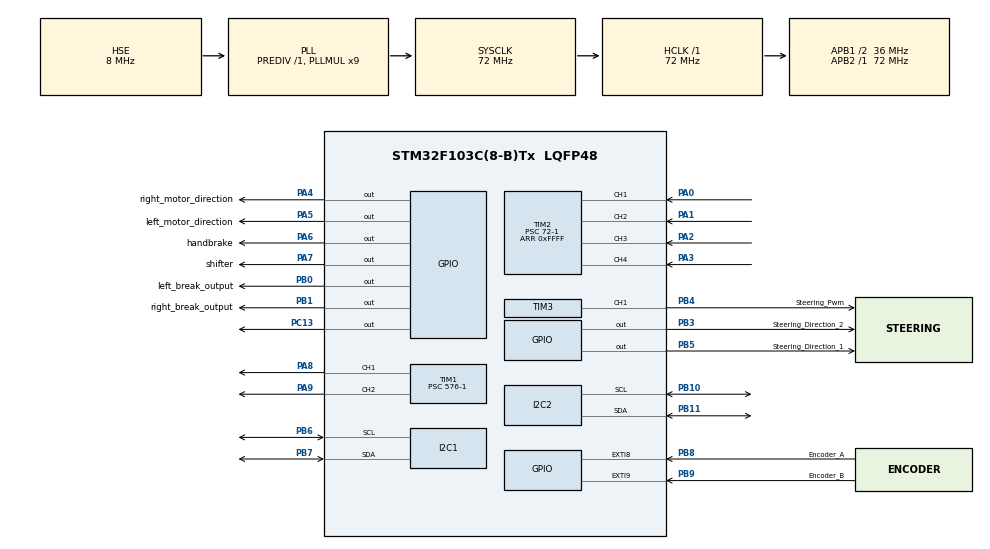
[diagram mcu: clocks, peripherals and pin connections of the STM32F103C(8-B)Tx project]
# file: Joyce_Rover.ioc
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Mcu.Family=STM32F1
Mcu.Name=STM32F103C(8-B)Tx
Mcu.Package=LQFP48
NVIC.EXTI9_5_IRQn=true\:0\:0\:false\:false\:true\:true\:true\:true
NVIC.PriorityGroup=NVIC_PRIORITYGROUP_4
NVIC.TIM1_BRK_IRQn=true\:0\:0\:false\:false\:true\:true\:true\:true
NVIC.TIM1_CC_IRQn=true\:0\:0\:false\:false\:true\:true\:true\:true
NVIC.TIM1_TRG_COM_IRQn=true\:0\:0\:false\:false\:true\:true\:true\:true
NVIC.TIM1_UP_IRQn=true\:0\:0\:false\:false\:true\:true\:true\:true
NVIC.TIM2_IRQn=true\:0\:0\:false\:false\:true\:true\:true\:true
PA0-WKUP.Signal=S_TIM2_CH1_ETR
PA1.Signal=S_TIM2_CH2
PA13.Mode=Serial_Wire
PA13.Signal=SYS_JTMS-SWDIO
PA14.Mode=Serial_Wire
PA14.Signal=SYS_JTCK-SWCLK
PA2.Signal=S_TIM2_CH3
PA3.Signal=S_TIM2_CH4
PA4.GPIO_Label=right_motor_direction
PA4.Signal=GPIO_Output
PA5.GPIO_Label=left_motor_direction
PA5.Signal=GPIO_Output
PA6.GPIO_Label=handbrake
PA6.Signal=GPIO_Output
PA7.GPIO_Label=shifter
PA7.Signal=GPIO_Output
PA8.Signal=S_TIM1_CH1
PA9.Signal=S_TIM1_CH2
PB0.GPIO_Label=left_break_output
PB0.Signal=GPIO_Output
PB1.GPIO_Label=right_break_output
PB1.Signal=GPIO_Output
PB10.Mode=I2C
PB10.Signal=I2C2_SCL
PB11.Mode=I2C
PB11.Signal=I2C2_SDA
PB3.GPIO_Label=Steering_Direction_2
PB3.Signal=GPIO_Output
PB4.GPIO_Label=Steering_Pwm
PB4.Signal=S_TIM3_CH1
PB5.GPIO_Label=Steering_Direction_1
PB5.Signal=GPIO_Output
PB6.Mode=I2C
PB6.Signal=I2C1_SCL
PB7.Mode=I2C
PB7.Signal=I2C1_SDA
PB8.GPIO_Label=Encoder_A
PB8.GPIO_ModeDefaultEXTI=GPIO_MODE_IT_RISING_FALLING
PB8.GPIO_PuPd=GPIO_PULLUP
PB8.Signal=GPXTI8
PB9.GPIO_Label=Encoder_B
PB9.GPIO_ModeDefaultEXTI=GPIO_MODE_IT_RISING_FALLING
PB9.GPIO_PuPd=GPIO_PULLUP
PB9.Signal=GPXTI9
PC13-TAMPER-RTC.Signal=GPIO_Output
PD0-OSC_IN.Mode=HSE-External-Oscillator
PD0-OSC_IN.Signal=RCC_OSC_IN
PD1-OSC_OUT.Mode=HSE-External-Oscillator
PD1-OSC_OUT.Signal=RCC_OSC_OUT
ProjectManager.HeapSize=0x200
ProjectManager.StackSize=0x400
ProjectManager.TargetToolchain=STM32CubeIDE
RCC.AHBFreq_Value=72000000
RCC.APB1CLKDivider=RCC_HCLK_DIV2
RCC.APB1Freq_Value=36000000
RCC.APB1TimFreq_Value=72000000
RCC.APB2Freq_Value=72000000
RCC.APB2TimFreq_Value=72000000
RCC.HCLKFreq_Value=72000000
RCC.PLLMUL=RCC_PLL_MUL9
RCC.PLLSourceVirtual=RCC_PLLSOURCE_HSE
RCC.SYSCLKFreq_VALUE=72000000
RCC.SYSCLKSource=RCC_SYSCLKSOURCE_PLLCLK
RCC.USBFreq_Value=72000000
SH.S_TIM1_CH1.0=TIM1_CH1,PWM Generation1 CH1
SH.S_TIM1_CH2.0=TIM1_CH2,PWM Generation2 CH2
SH.S_TIM2_CH1_ETR.0=TIM2_CH1,Input_Capture1_from_TI1
SH.S_TIM2_CH2.0=TIM2_CH2,Input_Capture2_from_TI2
SH.S_TIM2_CH3.0=TIM2_CH3,Input_Capture3_from_TI3
SH.S_TIM2_CH4.0=TIM2_CH4,Input_Capture4_from_TI4
SH.S_TIM3_CH1.0=TIM3_CH1,PWM Generation1 CH1
TIM1.Channel-PWM\ Generation1\ CH1=TIM_CHANNEL_1
TIM1.Channel-PWM\ Generation2\ CH2=TIM_CHANNEL_2
TIM1.Period=1000-1
TIM1.Prescaler=576-1
TIM2.Channel-Input_Capture1_from_TI1=TIM_CHANNEL_1
TIM2.Channel-Input_Capture2_from_TI2=TIM_CHANNEL_2
TIM2.Channel-Input_Capture3_from_TI3=TIM_CHANNEL_3
TIM2.Channel-Input_Capture4_from_TI4=TIM_CHANNEL_4
TIM2.Period=0xFFFF
TIM2.Prescaler=72-1
TIM3.Channel-PWM\ Generation1\ CH1=TIM_CHANNEL_1
TIM3.Period=100
TIM3.Prescaler=720-1
VP_TIM1_VS_ClockSourceINT.Mode=Internal
VP_TIM2_VS_ClockSourceINT.Mode=Internal
VP_TIM3_VS_ClockSourceINT.Mode=Internal
board=custom

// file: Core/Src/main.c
/* USER CODE BEGIN Header */
/**
 ******************************************************************************
 * @file           : main.c
 * @brief          : Main program body
 ******************************************************************************
 * @attention
 *
 * Copyright (c) 2023 STMicroelectronics.
 * All rights reserved.
 *
 * This software is licensed under terms that can be found in the LICENSE file
 * in the root directory of this software component.
 * If no LICENSE file comes with this software, it is provided AS-IS.
 *
 * Değişiklikler:
 * -> steering motoru için 2 yön pini 1 pwm pini oluşturuldu. pwm 1khz de çalışıyor ayarlandı. timer3 channel 1
 * -> encoder için iki adet interrupt pini ayarlandı. okunan değerlere göre Steering_Position değişkeni güncelleniyor
 * -> chanel 4-5-6 eklendi ama yorum satırı yapıldı. gerektiğinde tekrar aktif edilebilir (5 ve 6 için timer1 chanel 1 ve 2 nin pwm generation dan pwm input capture olması gerekiyor)
 ******************************************************************************
 */
/* USER CODE END Header */
#include "main.h"

/* USER CODE BEGIN Includes */
#include "MCP4725.h"
/* USER CODE END Includes */

/* USER CODE BEGIN PD */
//#define debug_mode //to debug and test relays
//#define dac_debug_moode
/* USER CODE END PD */

I2C_HandleTypeDef hi2c1;
I2C_HandleTypeDef hi2c2;

TIM_HandleTypeDef htim1;
TIM_HandleTypeDef htim2;
TIM_HandleTypeDef htim3;

/* USER CODE BEGIN PV */
volatile uint64_t ch1_rising = 0, ch1_falling = 0, ch1 = 0, pre_ch1 = 0;
volatile uint64_t ch2_rising = 0, ch2_falling = 0, ch2 = 0, pre_ch2 = 0;
volatile uint64_t ch3_rising = 0, ch3_falling = 0, ch3 = 0, pre_ch3 = 0;
//volatile uint64_t ch4_rising = 0, ch4_falling = 0, ch4 = 0, pre_ch4 = 0;
//volatile uint64_t ch5_rising = 0, ch5_falling = 0, ch5 = 0, pre_ch5 = 0;
//volatile uint64_t ch6_rising = 0, ch6_falling = 0, ch6 = 0, pre_ch6 = 0;

int deadband_scale = 0;
int maxpoint = 0;
int midpoint = 0;
int minpoint = 0;
int motor_startup_deadband = 0;

volatile int left_output = 0, right_output = 0;
volatile float ch1_smooth = 0, ch2_smooth = 0;
volatile int Steering_Position = 0;

int left_motor_pwm, right_motor_pwm;

/* USER CODE END PV */

void SystemClock_Config(void);
static void MX_GPIO_Init(void);
static void MX_TIM1_Init(void);
static void MX_TIM2_Init(void);
static void MX_I2C1_Init(void);
static void MX_I2C2_Init(void);
static void MX_TIM3_Init(void);

/* USER CODE BEGIN 0 */

int map(int x, int in_min, int in_max, int out_min, int out_max) {
	return (x - in_min) * (out_max - out_min) / (in_max - in_min) + out_min;
}

void HAL_TIM_IC_CaptureCallback(TIM_HandleTypeDef *htim) {
	if (htim->Instance == TIM2) {
		switch (htim->Channel) {
		case HAL_TIM_ACTIVE_CHANNEL_1:
			// Kanal 1 için işlemler
			if ((TIM2->CCER & TIM_CCER_CC1P) == 0) {
				ch1_rising = TIM2->CCR1; // yukselen kenar degerini kaydet
				TIM2->CCER |= TIM_CCER_CC1P; // polariteyi düsen kenar olarak degistir
			} else {
				ch1_falling = TIM2->CCR1;
				pre_ch1 = ch1_falling - ch1_rising; // dusen kenar degerini kaydet ve yukselen kenar degerinden cikar
				if (pre_ch1 < 0) {
					pre_ch1 += 0xFFFF; // eger sonuc negatifse taban tumleme yap
				}
				if (pre_ch1 < 2010 && pre_ch1 > 990) {
					ch1 = pre_ch1;
				}
				TIM2->CCER &= ~TIM_CCER_CC1P; // polariteyi yukselen kenar olarak ayarla
			}
			break;
		case HAL_TIM_ACTIVE_CHANNEL_2:
			// Kanal 2 için işlemler
			if ((TIM2->CCER & TIM_CCER_CC2P) == 0) {
				ch2_rising = TIM2->CCR2; // yukselen kenar degerini kaydet
				TIM2->CCER |= TIM_CCER_CC2P; // polariteyi düsen kenar olarak degistir
			} else {
				ch2_falling = TIM2->CCR2;
				pre_ch2 = ch2_falling - ch2_rising; // dusen kenar degerini kaydet ve yukselen kenar degerinden cikar
				if (pre_ch2 < 0) {
					pre_ch2 += 0xFFFF; // eger sonuc negatifse taban tumleme yap
				}
				if (pre_ch2 < 2010 && pre_ch2 > 990) {
					ch2 = pre_ch2;
				}
				TIM2->CCER &= ~TIM_CCER_CC2P; // polariteyi yukselen kenar olarak ayarla
			}

			break;
		case HAL_TIM_ACTIVE_CHANNEL_3:
			// Kanal 3 için işlemler
			if ((TIM2->CCER & TIM_CCER_CC3P) == 0) {
				ch3_rising = TIM2->CCR3; // yukselen kenar degerini kaydet
				TIM2->CCER |= TIM_CCER_CC3P; // polariteyi düsen kenar olarak degistir
			} else {
				ch3_falling = TIM2->CCR3;
				pre_ch3 = ch3_falling - ch3_rising; // dusen kenar degerini kaydet ve yukselen kenar degerinden cikar
				if (pre_ch3 < 0) {
					pre_ch3 += 0xFFFF; // eger sonuc negatifse taban tumleme yap
				}
				if (pre_ch3 < 2010 && pre_ch3 > 990) {
					ch3 = pre_ch3;
				}
				TIM2->CCER &= ~TIM_CCER_CC3P; // polariteyi yukselen kenar olarak ayarla
			}

			break;
		/*case HAL_TIM_ACTIVE_CHANNEL_4:
			// Kanal 4 için işlemler
			if ((TIM2->CCER & TIM_CCER_CC4P) == 0) {
				ch4_rising = TIM2->CCR4; // yukselen kenar degerini kaydet
				TIM2->CCER |= TIM_CCER_CC4P; // polariteyi düsen kenar olarak degistir
			} else {
				ch4_falling = TIM2->CCR4;
				pre_ch4 = ch4_falling - ch4_rising; // dusen kenar degerini kaydet ve yukselen kenar degerinden cikar
				if (pre_ch4 < 0) {
					pre_ch4 += 0xFFFF; // eger sonuc negatifse taban tumleme yap
				}
				if (pre_ch4 < 2010 && pre_ch4 > 990) {
					ch4 = pre_ch4;
				}
				TIM2->CCER &= ~TIM_CCER_CC4P; // polariteyi yukselen kenar olarak ayarla
			}

			break;*/
		default:
			break;
		}
	}
	/*if (htim->Instance == TIM1) {
		switch (htim->Channel) {
			case HAL_TIM_ACTIVE_CHANNEL_1:
				// Kanal 1 için işlemler
				if ((TIM1->CCER & TIM_CCER_CC1P) == 0) {
					ch5_rising = TIM1->CCR1; // yukselen kenar degerini kaydet
					TIM1->CCER |= TIM_CCER_CC1P; // polariteyi düsen kenar olarak degistir
				} else {
					ch5_falling = TIM1->CCR1;
					pre_ch5 = ch5_falling - ch5_rising; // dusen kenar degerini kaydet ve yukselen kenar degerinden cikar
					if (pre_ch5 < 0) {
						pre_ch5 += 0xFFFF; // eger sonuc negatifse taban tumleme yap
					}
					if (pre_ch5 < 2010 && pre_ch5 > 990) {
						ch5 = pre_ch5;
					}
					TIM1->CCER &= ~TIM_CCER_CC1P; // polariteyi yukselen kenar olarak ayarla
				}
			break;
			case HAL_TIM_ACTIVE_CHANNEL_2:
				// Kanal 2 için işlemler
				if ((TIM1->CCER & TIM_CCER_CC2P) == 0) {
					ch6_rising = TIM1->CCR2; // yukselen kenar degerini kaydet
					TIM1->CCER |= TIM_CCER_CC2P; // polariteyi düsen kenar olarak degistir
				} else {
					ch6_falling = TIM1->CCR2;
					pre_ch6 = ch6_falling - ch6_rising; // dusen kenar degerini kaydet ve yukselen kenar degerinden cikar
					if (pre_ch6 < 0) {
						pre_ch6 += 0xFFFF; // eger sonuc negatifse taban tumleme yap
					}
					if (pre_ch6 < 2010 && pre_ch6 > 990) {
						ch6 = pre_ch6;
					}
					TIM1->CCER &= ~TIM_CCER_CC2P; // polariteyi yukselen kenar olarak ayarla
				}
			break;
		default:
			break;
		}
	}*/
}

MCP4725 LeftMCP4725;
MCP4725 RightMCP4725;

/* USER CODE END 0 */

int main(void)
{

  /* MCU Configuration--------------------------------------------------------*/

  /* Reset of all peripherals, Initializes the Flash interface and the Systick. */
  HAL_Init();

  /* Configure the system clock */
  SystemClock_Config();

  /* Initialize all configured peripherals */
  MX_GPIO_Init();
  MX_TIM1_Init();
  MX_TIM2_Init();
  MX_I2C1_Init();
  MX_I2C2_Init();
  MX_TIM3_Init();
  /* USER CODE BEGIN 2 */
	LeftMCP4725 = MCP4725_init(&hi2c1, MCP4725A0_ADDR_A00, 5);
	RightMCP4725 = MCP4725_init(&hi2c1, MCP4725A0_ADDR_A01, 5);

	HAL_TIM_IC_Start_IT(&htim2, TIM_CHANNEL_1);
	HAL_TIM_IC_Start_IT(&htim2, TIM_CHANNEL_2);
	HAL_TIM_IC_Start_IT(&htim2, TIM_CHANNEL_3);
	//HAL_TIM_IC_Start_IT(&htim2, TIM_CHANNEL_4);
	HAL_TIM_PWM_Start(&htim1, TIM_CHANNEL_1);
	HAL_TIM_PWM_Start(&htim1, TIM_CHANNEL_2);
	HAL_TIM_PWM_Start(&htim3, TIM_CHANNEL_1);
#ifndef debug_mode
	while (!MCP4725_isConnected(&LeftMCP4725)
			|| !MCP4725_isConnected(&RightMCP4725)) {
		HAL_GPIO_TogglePin(GPIOC, GPIO_PIN_13);
		HAL_Delay(500);
	}
#endif
  /* USER CODE END 2 */

  /* Infinite loop */
	while (1) {

    /* USER CODE BEGIN 3 */
#ifndef debug_mode
		if (ch3 <= 1500) {
			maxpoint = 1900;
			midpoint = 1500;
			minpoint = 1100;
			deadband_scale = 32;
			motor_startup_deadband = 100;
		} else {
			maxpoint = 1900;
			midpoint = 1500;
			minpoint = 1100;
			deadband_scale = 32;
			motor_startup_deadband = 100;
		}

		ch1_smooth -= ch1_smooth / 10.0;
		ch1_smooth += ch1 / 10.0;

		ch2_smooth -= ch2_smooth / 10.0;
		ch2_smooth += ch2 / 10.0;

		left_output = (ch2_smooth + ((ch1_smooth - 1500) * 0.5));
		if (left_output < midpoint - (deadband_scale / 4))
			HAL_GPIO_WritePin(GPIOA, left_motor_direction_Pin, SET);
		else
			HAL_GPIO_WritePin(GPIOA, left_motor_direction_Pin, RESET);

		if (abs(left_output - midpoint) < (deadband_scale / 2))
			left_output = midpoint;  //orta ölübant  (abs() -> mutlak değer)
		if (left_output > maxpoint - deadband_scale)
			left_output = maxpoint;       //max 500
		else if (left_output < minpoint + deadband_scale)
			left_output = minpoint;  //min -500

		right_output = (ch2_smooth - ((ch1_smooth - 1500) * 0.5));
		if (right_output < midpoint - (deadband_scale / 4))
			HAL_GPIO_WritePin(GPIOA, right_motor_direction_Pin, SET);
		else
			HAL_GPIO_WritePin(GPIOA, right_motor_direction_Pin, RESET);

		if (abs(right_output - midpoint) < (deadband_scale / 2))
			right_output = midpoint;  //orta ölübant  (abs() -> mutlak değer)
		if (right_output > maxpoint - deadband_scale)
			right_output = maxpoint;       //max 500
		else if (right_output < minpoint + deadband_scale)
			right_output = minpoint;  //min -500

		if (left_output == midpoint && right_output == midpoint) {
			HAL_GPIO_WritePin(GPIOA, handbrake_Pin, SET);
		} else {

			HAL_GPIO_WritePin(GPIOA, handbrake_Pin, RESET);
		}

		if (left_output >= midpoint)
			left_motor_pwm = map(left_output, midpoint, maxpoint, 0, 1000);
		else
			left_motor_pwm = abs(
					map(left_output, minpoint, midpoint, 0, 1000) - 1000);

		if (right_output >= midpoint)
			right_motor_pwm = map(right_output, midpoint, maxpoint, 0, 1000);
		else
			right_motor_pwm = abs(
					map(right_output, minpoint, midpoint, 0, 1000) - 1000);

		//i2c ile başlatılmış sürücünün bufferından output verilecek
		MCP4725_setValue(&LeftMCP4725,
				(uint16_t) (map(left_motor_pwm, 0, 1000, 800, 2500)),
				MCP4725_FAST_MODE, MCP4725_POWER_DOWN_OFF);
		MCP4725_setValue(&RightMCP4725,
				(uint16_t) (map(right_motor_pwm, 0, 1000, 800, 2500)),
				MCP4725_FAST_MODE, MCP4725_POWER_DOWN_OFF);

		HAL_Delay(20);
#endif
#ifdef debug_mode
		maxpoint = 1900;
		midpoint = 1500;
		minpoint = 1100;
		deadband_scale = 32;
		motor_startup_deadband = 100;
		ch1_smooth -= ch1_smooth / 10.0;
		ch1_smooth += ch1 / 10.0;

		ch2_smooth -= ch2_smooth / 10.0;
		ch2_smooth += ch2 / 10.0;
#ifndef dac_debug_moode
		HAL_GPIO_WritePin(GPIOA, handbrake_Pin, SET);
		HAL_GPIO_WritePin(GPIOA, right_motor_direction_Pin, SET);
		HAL_GPIO_WritePin(GPIOA, left_motor_direction_Pin, SET);
		HAL_Delay(1000);
		HAL_GPIO_WritePin(GPIOA, handbrake_Pin, RESET);
		HAL_GPIO_WritePin(GPIOA, right_motor_direction_Pin, RESET);
		HAL_GPIO_WritePin(GPIOA, left_motor_direction_Pin, RESET);
		HAL_Delay(1000);
#endif
#ifdef dac_debug_moode
		for(int i=0;i<=1000;i++){
		left_motor_pwm=i;
		right_motor_pwm=i;
		MCP4725_setValue(&LeftMCP4725,(uint16_t) (map(left_motor_pwm, 0, 1000, 800, 2500)),MCP4725_FAST_MODE, MCP4725_POWER_DOWN_OFF);
		MCP4725_setValue(&RightMCP4725,(uint16_t) (map(right_motor_pwm, 0, 1000, 800, 2500)),MCP4725_FAST_MODE, MCP4725_POWER_DOWN_OFF);
		HAL_Delay(20);
		}
#endif
#endif
	}

  /* USER CODE END 3 */
}

void SystemClock_Config(void)
{
  RCC_OscInitTypeDef RCC_OscInitStruct = {0};
  RCC_ClkInitTypeDef RCC_ClkInitStruct = {0};

  /** Initializes the RCC Oscillators according to the specified parameters
  * in the RCC_OscInitTypeDef structure.
  */
  RCC_OscInitStruct.OscillatorType = RCC_OSCILLATORTYPE_HSE;
  RCC_OscInitStruct.HSEState = RCC_HSE_ON;
  RCC_OscInitStruct.HSEPredivValue = RCC_HSE_PREDIV_DIV1;
  RCC_OscInitStruct.HSIState = RCC_HSI_ON;
  RCC_OscInitStruct.PLL.PLLState = RCC_PLL_ON;
  RCC_OscInitStruct.PLL.PLLSource = RCC_PLLSOURCE_HSE;
  RCC_OscInitStruct.PLL.PLLMUL = RCC_PLL_MUL9;
  if (HAL_RCC_OscConfig(&RCC_OscInitStruct) != HAL_OK)
  {
    Error_Handler();
  }

  /** Initializes the CPU, AHB and APB buses clocks
  */
  RCC_ClkInitStruct.ClockType = RCC_CLOCKTYPE_HCLK|RCC_CLOCKTYPE_SYSCLK
                              |RCC_CLOCKTYPE_PCLK1|RCC_CLOCKTYPE_PCLK2;
  RCC_ClkInitStruct.SYSCLKSource = RCC_SYSCLKSOURCE_PLLCLK;
  RCC_ClkInitStruct.AHBCLKDivider = RCC_SYSCLK_DIV1;
  RCC_ClkInitStruct.APB1CLKDivider = RCC_HCLK_DIV2;
  RCC_ClkInitStruct.APB2CLKDivider = RCC_HCLK_DIV1;

  if (HAL_RCC_ClockConfig(&RCC_ClkInitStruct, FLASH_LATENCY_2) != HAL_OK)
  {
    Error_Handler();
  }
}

static void MX_I2C1_Init(void)
{

  hi2c1.Instance = I2C1;
  hi2c1.Init.ClockSpeed = 100000;
  hi2c1.Init.DutyCycle = I2C_DUTYCYCLE_2;
  hi2c1.Init.OwnAddress1 = 0;
  hi2c1.Init.AddressingMode = I2C_ADDRESSINGMODE_7BIT;
  hi2c1.Init.DualAddressMode = I2C_DUALADDRESS_DISABLE;
  hi2c1.Init.OwnAddress2 = 0;
  hi2c1.Init.GeneralCallMode = I2C_GENERALCALL_DISABLE;
  hi2c1.Init.NoStretchMode = I2C_NOSTRETCH_DISABLE;
  if (HAL_I2C_Init(&hi2c1) != HAL_OK)
  {
    Error_Handler();
  }

}

static void MX_I2C2_Init(void)
{

  hi2c2.Instance = I2C2;
  hi2c2.Init.ClockSpeed = 100000;
  hi2c2.Init.DutyCycle = I2C_DUTYCYCLE_2;
  hi2c2.Init.OwnAddress1 = 0;
  hi2c2.Init.AddressingMode = I2C_ADDRESSINGMODE_7BIT;
  hi2c2.Init.DualAddressMode = I2C_DUALADDRESS_DISABLE;
  hi2c2.Init.OwnAddress2 = 0;
  hi2c2.Init.GeneralCallMode = I2C_GENERALCALL_DISABLE;
  hi2c2.Init.NoStretchMode = I2C_NOSTRETCH_DISABLE;
  if (HAL_I2C_Init(&hi2c2) != HAL_OK)
  {
    Error_Handler();
  }

}

static void MX_TIM1_Init(void)
{

  TIM_ClockConfigTypeDef sClockSourceConfig = {0};
  TIM_MasterConfigTypeDef sMasterConfig = {0};
  TIM_OC_InitTypeDef sConfigOC = {0};
  TIM_BreakDeadTimeConfigTypeDef sBreakDeadTimeConfig = {0};

  htim1.Instance = TIM1;
  htim1.Init.Prescaler = 576-1;
  htim1.Init.CounterMode = TIM_COUNTERMODE_UP;
  htim1.Init.Period = 1000-1;
  htim1.Init.ClockDivision = TIM_CLOCKDIVISION_DIV1;
  htim1.Init.RepetitionCounter = 0;
  htim1.Init.AutoReloadPreload = TIM_AUTORELOAD_PRELOAD_DISABLE;
  if (HAL_TIM_Base_Init(&htim1) != HAL_OK)
  {
    Error_Handler();
  }
  sClockSourceConfig.ClockSource = TIM_CLOCKSOURCE_INTERNAL;
  if (HAL_TIM_ConfigClockSource(&htim1, &sClockSourceConfig) != HAL_OK)
  {
    Error_Handler();
  }
  if (HAL_TIM_PWM_Init(&htim1) != HAL_OK)
  {
    Error_Handler();
  }
  sMasterConfig.MasterOutputTrigger = TIM_TRGO_RESET;
  sMasterConfig.MasterSlaveMode = TIM_MASTERSLAVEMODE_DISABLE;
  if (HAL_TIMEx_MasterConfigSynchronization(&htim1, &sMasterConfig) != HAL_OK)
  {
    Error_Handler();
  }
  sConfigOC.OCMode = TIM_OCMODE_PWM1;
  sConfigOC.Pulse = 0;
  sConfigOC.OCPolarity = TIM_OCPOLARITY_HIGH;
  sConfigOC.OCNPolarity = TIM_OCNPOLARITY_HIGH;
  sConfigOC.OCFastMode = TIM_OCFAST_DISABLE;
  sConfigOC.OCIdleState = TIM_OCIDLESTATE_RESET;
  sConfigOC.OCNIdleState = TIM_OCNIDLESTATE_RESET;
  if (HAL_TIM_PWM_ConfigChannel(&htim1, &sConfigOC, TIM_CHANNEL_1) != HAL_OK)
  {
    Error_Handler();
  }
  if (HAL_TIM_PWM_ConfigChannel(&htim1, &sConfigOC, TIM_CHANNEL_2) != HAL_OK)
  {
    Error_Handler();
  }
  sBreakDeadTimeConfig.OffStateRunMode = TIM_OSSR_DISABLE;
  sBreakDeadTimeConfig.OffStateIDLEMode = TIM_OSSI_DISABLE;
  sBreakDeadTimeConfig.LockLevel = TIM_LOCKLEVEL_OFF;
  sBreakDeadTimeConfig.DeadTime = 0;
  sBreakDeadTimeConfig.BreakState = TIM_BREAK_DISABLE;
  sBreakDeadTimeConfig.BreakPolarity = TIM_BREAKPOLARITY_HIGH;
  sBreakDeadTimeConfig.AutomaticOutput = TIM_AUTOMATICOUTPUT_DISABLE;
  if (HAL_TIMEx_ConfigBreakDeadTime(&htim1, &sBreakDeadTimeConfig) != HAL_OK)
  {
    Error_Handler();
  }
  HAL_TIM_MspPostInit(&htim1);

}

static void MX_TIM2_Init(void)
{

  TIM_ClockConfigTypeDef sClockSourceConfig = {0};
  TIM_MasterConfigTypeDef sMasterConfig = {0};
  TIM_IC_InitTypeDef sConfigIC = {0};

  htim2.Instance = TIM2;
  htim2.Init.Prescaler = 72-1;
  htim2.Init.CounterMode = TIM_COUNTERMODE_UP;
  htim2.Init.Period = 0xFFFF;
  htim2.Init.ClockDivision = TIM_CLOCKDIVISION_DIV1;
  htim2.Init.AutoReloadPreload = TIM_AUTORELOAD_PRELOAD_DISABLE;
  if (HAL_TIM_Base_Init(&htim2) != HAL_OK)
  {
    Error_Handler();
  }
  sClockSourceConfig.ClockSource = TIM_CLOCKSOURCE_INTERNAL;
  if (HAL_TIM_ConfigClockSource(&htim2, &sClockSourceConfig) != HAL_OK)
  {
    Error_Handler();
  }
  if (HAL_TIM_IC_Init(&htim2) != HAL_OK)
  {
    Error_Handler();
  }
  sMasterConfig.MasterOutputTrigger = TIM_TRGO_RESET;
  sMasterConfig.MasterSlaveMode = TIM_MASTERSLAVEMODE_DISABLE;
  if (HAL_TIMEx_MasterConfigSynchronization(&htim2, &sMasterConfig) != HAL_OK)
  {
    Error_Handler();
  }
  sConfigIC.ICPolarity = TIM_INPUTCHANNELPOLARITY_RISING;
  sConfigIC.ICSelection = TIM_ICSELECTION_DIRECTTI;
  sConfigIC.ICPrescaler = TIM_ICPSC_DIV1;
  sConfigIC.ICFilter = 0;
  if (HAL_TIM_IC_ConfigChannel(&htim2, &sConfigIC, TIM_CHANNEL_1) != HAL_OK)
  {
    Error_Handler();
  }
  if (HAL_TIM_IC_ConfigChannel(&htim2, &sConfigIC, TIM_CHANNEL_2) != HAL_OK)
  {
    Error_Handler();
  }
  if (HAL_TIM_IC_ConfigChannel(&htim2, &sConfigIC, TIM_CHANNEL_3) != HAL_OK)
  {
    Error_Handler();
  }
  if (HAL_TIM_IC_ConfigChannel(&htim2, &sConfigIC, TIM_CHANNEL_4) != HAL_OK)
  {
    Error_Handler();
  }

}

static void MX_TIM3_Init(void)
{

  TIM_ClockConfigTypeDef sClockSourceConfig = {0};
  TIM_MasterConfigTypeDef sMasterConfig = {0};
  TIM_OC_InitTypeDef sConfigOC = {0};

  htim3.Instance = TIM3;
  htim3.Init.Prescaler = 720-1;
  htim3.Init.CounterMode = TIM_COUNTERMODE_UP;
  htim3.Init.Period = 100;
  htim3.Init.ClockDivision = TIM_CLOCKDIVISION_DIV1;
  htim3.Init.AutoReloadPreload = TIM_AUTORELOAD_PRELOAD_DISABLE;
  if (HAL_TIM_Base_Init(&htim3) != HAL_OK)
  {
    Error_Handler();
  }
  sClockSourceConfig.ClockSource = TIM_CLOCKSOURCE_INTERNAL;
  if (HAL_TIM_ConfigClockSource(&htim3, &sClockSourceConfig) != HAL_OK)
  {
    Error_Handler();
  }
  if (HAL_TIM_PWM_Init(&htim3) != HAL_OK)
  {
    Error_Handler();
  }
  sMasterConfig.MasterOutputTrigger = TIM_TRGO_RESET;
  sMasterConfig.MasterSlaveMode = TIM_MASTERSLAVEMODE_DISABLE;
  if (HAL_TIMEx_MasterConfigSynchronization(&htim3, &sMasterConfig) != HAL_OK)
  {
    Error_Handler();
  }
  sConfigOC.OCMode = TIM_OCMODE_PWM1;
  sConfigOC.Pulse = 0;
  sConfigOC.OCPolarity = TIM_OCPOLARITY_HIGH;
  sConfigOC.OCFastMode = TIM_OCFAST_DISABLE;
  if (HAL_TIM_PWM_ConfigChannel(&htim3, &sConfigOC, TIM_CHANNEL_1) != HAL_OK)
  {
    Error_Handler();
  }
  HAL_TIM_MspPostInit(&htim3);

}

static void MX_GPIO_Init(void)
{
  GPIO_InitTypeDef GPIO_InitStruct = {0};

  /* GPIO Ports Clock Enable */
  __HAL_RCC_GPIOC_CLK_ENABLE();
  __HAL_RCC_GPIOD_CLK_ENABLE();
  __HAL_RCC_GPIOA_CLK_ENABLE();
  __HAL_RCC_GPIOB_CLK_ENABLE();

  /*Configure GPIO pin Output Level */
  HAL_GPIO_WritePin(GPIOC, GPIO_PIN_13, GPIO_PIN_RESET);

  /*Configure GPIO pin Output Level */
  HAL_GPIO_WritePin(GPIOA, right_motor_direction_Pin|left_motor_direction_Pin|handbrake_Pin|shifter_Pin, GPIO_PIN_RESET);

  /*Configure GPIO pin Output Level */
  HAL_GPIO_WritePin(GPIOB, left_break_output_Pin|right_break_output_Pin|Steering_Direction_2_Pin|Steering_Direction_1_Pin, GPIO_PIN_RESET);

  /*Configure GPIO pin : PC13 */
  GPIO_InitStruct.Pin = GPIO_PIN_13;
  GPIO_InitStruct.Mode = GPIO_MODE_OUTPUT_PP;
  GPIO_InitStruct.Pull = GPIO_NOPULL;
  GPIO_InitStruct.Speed = GPIO_SPEED_FREQ_LOW;
  HAL_GPIO_Init(GPIOC, &GPIO_InitStruct);

  /*Configure GPIO pins : right_motor_direction_Pin left_motor_direction_Pin handbrake_Pin shifter_Pin */
  GPIO_InitStruct.Pin = right_motor_direction_Pin|left_motor_direction_Pin|handbrake_Pin|shifter_Pin;
  GPIO_InitStruct.Mode = GPIO_MODE_OUTPUT_PP;
  GPIO_InitStruct.Pull = GPIO_NOPULL;
  GPIO_InitStruct.Speed = GPIO_SPEED_FREQ_LOW;
  HAL_GPIO_Init(GPIOA, &GPIO_InitStruct);

  /*Configure GPIO pins : left_break_output_Pin right_break_output_Pin Steering_Direction_2_Pin Steering_Direction_1_Pin */
  GPIO_InitStruct.Pin = left_break_output_Pin|right_break_output_Pin|Steering_Direction_2_Pin|Steering_Direction_1_Pin;
  GPIO_InitStruct.Mode = GPIO_MODE_OUTPUT_PP;
  GPIO_InitStruct.Pull = GPIO_NOPULL;
  GPIO_InitStruct.Speed = GPIO_SPEED_FREQ_LOW;
  HAL_GPIO_Init(GPIOB, &GPIO_InitStruct);

  /*Configure GPIO pins : Encoder_A_Pin Encoder_B_Pin */
  GPIO_InitStruct.Pin = Encoder_A_Pin|Encoder_B_Pin;
  GPIO_InitStruct.Mode = GPIO_MODE_IT_RISING_FALLING;
  GPIO_InitStruct.Pull = GPIO_PULLUP;
  HAL_GPIO_Init(GPIOB, &GPIO_InitStruct);

  /* EXTI interrupt init*/
  HAL_NVIC_SetPriority(EXTI9_5_IRQn, 0, 0);
  HAL_NVIC_EnableIRQ(EXTI9_5_IRQn);

}

/* USER CODE BEGIN 4 */
void HAL_GPIO_EXTI_Callback(uint16_t GPIO_Pin){
	if(GPIO_Pin == Encoder_A_Pin){
		if(HAL_GPIO_ReadPin(Encoder_A_GPIO_Port, Encoder_A_Pin) == HAL_GPIO_ReadPin(Encoder_B_GPIO_Port, Encoder_B_Pin)) Steering_Position++;
		else Steering_Position--;
	}
	else if(GPIO_Pin == Encoder_B_Pin){
		if(HAL_GPIO_ReadPin(Encoder_A_GPIO_Port, Encoder_A_Pin) != HAL_GPIO_ReadPin(Encoder_B_GPIO_Port, Encoder_B_Pin)) Steering_Position++;
		else Steering_Position--;
	}
}
/* USER CODE END 4 */

void Error_Handler(void)
{
	__disable_irq();
	while (1) {
	}
}
